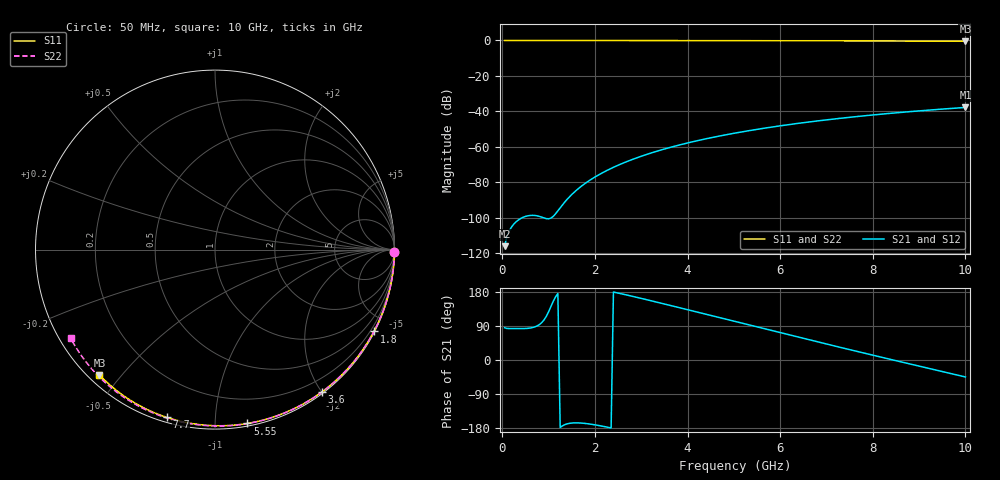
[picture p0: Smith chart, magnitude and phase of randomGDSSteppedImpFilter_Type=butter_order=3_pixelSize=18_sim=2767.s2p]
! freq	dB(S11)	phase(S11)	dB(S12)	phase(S12)
!  dB(S21)	phase(S21)	dB(S22)	phase(S22)
!S-par simulation data
#  GHz  S  DB  R 50
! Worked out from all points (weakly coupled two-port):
!   200 points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, 50 MHz to 10 GHz, reference 50 ohm
!   highest |S21| = -37.73 dB at 10 GHz (marker M1); lowest = -115.9 dB at 50 MHz (marker M2)
!   lowest |S11| = -0.4 dB at 10 GHz (marker M3), VSWR 38.87, Z = 1.53 - j21.9 ohm
!   |S11| at or under -10 dB: nowhere
!   |S22| runs from -0.5 to 0.0 dB; largest |S21 - S12| = 0
!   S11 on the Smith chart (normalised r, x): 50 MHz: open; 1.8 GHz: 0.04, -4.13; 3.6 GHz: 0.02, -2.00; 5.55 GHz: 0.02, -1.20; 7.7 GHz: 0.02, -0.75; 10 GHz: 0.03, -0.44
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0.05  -0.00 -0.8  -115.88 85.1  -115.88 85.1  -0.00 -0.9
0.45  -0.01 -6.9  -99.60 82.8  -99.60 82.8  -0.01 -7.7
0.9  -0.02 -13.7  -99.98 105.5  -99.98 105.5  -0.02 -15.3
1.3  -0.02 -19.8  -92.58 -173.7  -92.58 -173.7  -0.03 -22.0
1.75  -0.03 -26.5  -81.26 -166.9  -81.26 -166.9  -0.04 -29.5
1.8  -0.03 -27.2  -80.31 -167.6  -80.31 -167.6  -0.04 -30.3
1.85  -0.04 -28.0  -79.41 -168.3  -79.41 -168.3  -0.04 -31.1
2  -0.04 -30.2  -76.93 -171.1  -76.93 -171.1  -0.04 -33.6
2.15  -0.04 -32.4  -74.71 -174.4  -74.71 -174.4  -0.05 -36.1
2.5  -0.05 -37.5  -70.29 176.7  -70.29 176.7  -0.05 -41.8
2.9  -0.06 -43.3  -66.15 165.5  -66.15 165.5  -0.06 -48.2
3.4  -0.07 -50.4  -61.90 150.8  -61.90 150.8  -0.07 -56.1
3.6  -0.07 -53.2  -60.42 144.8  -60.42 144.8  -0.08 -59.2
4.3  -0.09 -62.9  -55.95 123.6  -55.95 123.6  -0.10 -69.9
5.05  -0.11 -72.9  -52.06 100.8  -52.06 100.8  -0.12 -81.0
5.55  -0.13 -79.5  -49.86 85.6  -49.86 85.6  -0.14 -88.2
6.1  -0.15 -86.5  -47.72 69.0  -47.72 69.0  -0.17 -96.0
6.7  -0.18 -94.0  -45.66 51.1  -45.66 51.1  -0.20 -104.3
7.7  -0.24 -106.1  -42.74 21.5  -42.74 21.5  -0.27 -117.8
8.35  -0.29 -113.7  -41.12 2.6  -41.12 2.6  -0.33 -126.5
9.2  -0.36 -123.6  -39.25 -21.9  -39.25 -21.9  -0.41 -137.8
10  -0.45 -132.7  -37.73 -44.7  -37.73 -44.7  -0.50 -148.4
